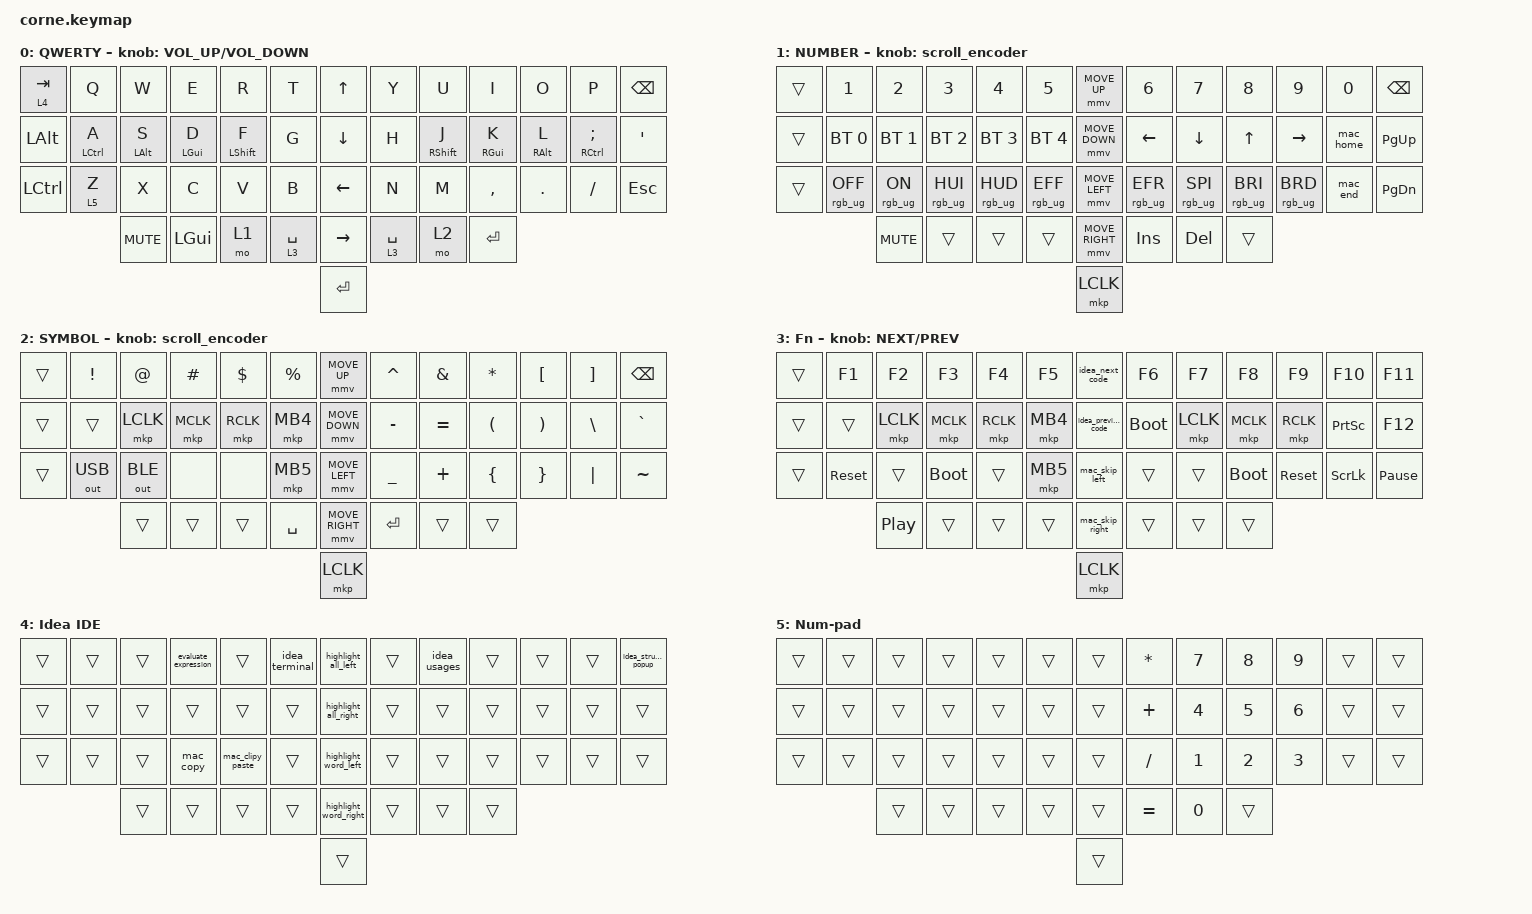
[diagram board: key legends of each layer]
#include <behaviors/mouse_keys.dtsi>
#include <dt-bindings/zmk/mouse.h>
#include <behaviors.dtsi>
#include <dt-bindings/zmk/bt.h>
#include <dt-bindings/zmk/keys.h>
#include <dt-bindings/zmk/outputs.h>
#include <dt-bindings/zmk/pointing.h>
#include <dt-bindings/zmk/pointing.h>
#include <dt-bindings/zmk/pointing.h>
#include <dt-bindings/zmk/rgb.h>

#define ZMK_MOUSE_DEFAULT_MOVE_VAL 1200  // 600
#define ZMK_MOUSE_DEFAULT_SCRL_VAL 20    // 10
#define U_MS_U &mmv MOVE_UP
#define U_MS_D &mmv MOVE_DOWN
#define U_MS_L &mmv MOVE_LEFT
#define U_MS_R &mmv MOVE_RIGHT

/ {
    behaviors {
        td0: td0 {
            compatible = "zmk,behavior-tap-dance";
            label = "TD0";
            #binding-cells = <0>;
            bindings = <&kp LEFT_SHIFT>, <&kp CAPS>;
        };

        hrm_left: hrm_left {
            compatible = "zmk,behavior-hold-tap";
            label = "HRM_LEFT";
            bindings = <&kp>, <&kp>;

            #binding-cells = <2>;
            tapping-term-ms = <200>;
            quick-tap-ms = <175>;
            hold-trigger-on-release;
            hold-trigger-key-positions = <7 8 9 10 11 12 20 21 22 23 24 25 33 34 35 36 37 38 45 46 44>;
            flavor = "balanced";
        };

        hrm_right: hrm_right {
            compatible = "zmk,behavior-hold-tap";
            label = "HRM_RIGHT";
            bindings = <&kp>, <&kp>;

            #binding-cells = <2>;
            tapping-term-ms = <200>;
            quick-tap-ms = <175>;
            hold-trigger-on-release;
            hold-trigger-key-positions = <0 1 2 3 4 5 13 14 15 16 17 18 26 27 28 29 30 31 40 41 42>;
            flavor = "balanced";
        };

        mmv {
            acceleration-exponent = <1>;      // 1
            time-to-max-speed-ms = <900>;    // 40
            delay-ms = <0>;                   // 0
        };

        msc {
            acceleration-exponent = <1>;      // 0
            time-to-max-speed-ms = <400>;      // 500
            delay-ms = <0>;                   // 10
        };
    };

    rgb_encoder: rgb_encoder {
        compatible = "zmk,behavior-sensor-rotate";
        label = "RGB_ENCODER";
        #sensor-binding-cells = <0>;
        bindings = <&rgb_ug RGB_BRI>, <&rgb_ug RGB_BRD>;
    };

    scroll_encoder: scroll_encoder {
        compatible = "zmk,behavior-sensor-rotate";
        #sensor-binding-cells = <0>;
        bindings = <&msc SCRL_DOWN>, <&msc SCRL_UP>;

        tap-ms = <30>;
    };

    macros {
        lock_mac: lock_mac {
            compatible = "zmk,behavior-macro";
            #binding-cells = <0>;
            bindings =
                <&macro_press>,
                <&kp LCTRL &kp LEFT_GUI &kp Q>,
                <&macro_pause_for_release>,
                <&macro_release>,
                <&kp LCTRL &kp LEFT_GUI &kp Q>;

            label = "LOCK_MAC";
        };

        screen_shot: screen_shot {
            compatible = "zmk,behavior-macro";
            #binding-cells = <0>;
            bindings =
                <&macro_press>,
                <&kp LEFT_CONTROL &kp LEFT_SHIFT &kp LEFT_GUI &kp NUMBER_4>,
                <&macro_pause_for_release>,
                <&macro_release>,
                <&kp LCTRL &kp LSHIFT &kp LEFT_GUI &kp NUMBER_4>;

            label = "SCREEN_SHOT";
        };

        launch_pad: launch_pad {
            compatible = "zmk,behavior-macro";
            #binding-cells = <0>;
            bindings =
                <&macro_press>,
                <&kp LEFT_GUI &kp SPACE>,
                <&macro_pause_for_release>,
                <&macro_release>,
                <&kp LEFT_GUI &kp SPACE>;

            label = "LAUNCH_PAD";
        };

        one_pass_vault: one_pass_vault {
            compatible = "zmk,behavior-macro";
            #binding-cells = <0>;
            bindings =
                <&macro_press>,
                <&kp LEFT_GUI &kp LEFT_SHIFT &kp SPACE>,
                <&macro_pause_for_release>,
                <&macro_release>,
                <&kp LEFT_GUI &kp LEFT_SHIFT &kp SPACE>;

            label = "ONE_PASS_VAULT";
        };

        mac_home: mac_home {
            compatible = "zmk,behavior-macro";
            #binding-cells = <0>;
            bindings =
                <&macro_press>,
                <&kp LEFT_GUI &kp LEFT>,
                <&macro_pause_for_release>,
                <&macro_release>,
                <&kp LEFT_GUI &kp LEFT>;

            label = "MAC_HOME";
        };

        mac_end: mac_end {
            compatible = "zmk,behavior-macro";
            #binding-cells = <0>;
            bindings =
                <&macro_press>,
                <&kp LEFT_GUI &kp RIGHT>,
                <&macro_pause_for_release>,
                <&macro_release>,
                <&kp LEFT_GUI &kp RIGHT>;

            label = "MAC_END";
        };

        mac_skip_left: mac_skip_left {
            compatible = "zmk,behavior-macro";
            #binding-cells = <0>;
            bindings =
                <&macro_press>,
                <&kp LEFT_ALT &kp LEFT>,
                <&macro_pause_for_release>,
                <&macro_release>,
                <&kp LEFT_ALT &kp LEFT>;

            label = "MAC_SKIP_LEFT";
        };

        mac_skip_right: mac_skip_right {
            compatible = "zmk,behavior-macro";
            #binding-cells = <0>;
            bindings =
                <&macro_press>,
                <&kp LEFT_ALT &kp RIGHT>,
                <&macro_pause_for_release>,
                <&macro_release>,
                <&kp LEFT_ALT &kp RIGHT>;

            label = "MAC_SKIP_RIGHT";
        };

        idea_next_code: idea_next_code {
            compatible = "zmk,behavior-macro";
            #binding-cells = <0>;
            bindings =
                <&macro_press>,
                <&kp LEFT_GUI &kp RIGHT_BRACKET>,
                <&macro_pause_for_release>,
                <&macro_release>,
                <&kp LEFT_GUI &kp RIGHT_BRACKET>;

            label = "IDEA_NEXT_CODE";
        };

        idea_previous_code: idea_previous_code {
            compatible = "zmk,behavior-macro";
            #binding-cells = <0>;
            bindings =
                <&macro_press>,
                <&kp LEFT_GUI &kp LEFT_BRACKET>,
                <&macro_pause_for_release>,
                <&macro_release>,
                <&kp LEFT_GUI &kp LEFT_BRACKET>;

            label = "IDEA_PREVIOUS_CODE";
        };

        mac_copy: mac_copy {
            compatible = "zmk,behavior-macro";
            #binding-cells = <0>;
            bindings =
                <&macro_press>,
                <&kp LEFT_GUI &kp C>,
                <&macro_pause_for_release>,
                <&macro_release>,
                <&kp LEFT_GUI &kp C>;

            label = "MAC_COPY";
        };

        mac_clipy_paste: mac_clipy_paste {
            compatible = "zmk,behavior-macro";
            #binding-cells = <0>;
            bindings =
                <&macro_press>,
                <&kp LEFT_GUI &kp LS(V)>,
                <&macro_pause_for_release>,
                <&macro_release>,
                <&kp LEFT_GUI &kp LS(V)>;

            label = "MAC_CLIPY_PASTE";
        };

        idea_usages: idea_usages {
            compatible = "zmk,behavior-macro";
            #binding-cells = <0>;
            bindings =
                <&macro_press>,
                <&kp LEFT_ALT &kp F7>,
                <&macro_pause_for_release>,
                <&macro_release>,
                <&kp LEFT_ALT &kp F7>;

            label = "IDEA_USAGES";
        };

        idea_terminal: idea_terminal {
            compatible = "zmk,behavior-macro";
            #binding-cells = <0>;
            bindings =
                <&macro_press>,
                <&kp LEFT_ALT &kp F12>,
                <&macro_pause_for_release>,
                <&macro_release>,
                <&kp LEFT_ALT &kp F12>;

            label = "IDEA_TERMINAL";
        };

        idea_structure_popup: idea_structure_popup {
            compatible = "zmk,behavior-macro";
            #binding-cells = <0>;
            bindings =
                <&macro_press>,
                <&kp LEFT_GUI &kp F12>,
                <&macro_pause_for_release>,
                <&macro_release>,
                <&kp LEFT_GUI &kp F12>;

            label = "IDEA_STRUCTURE_POPUP";
        };

        highlight_all_left: highlight_all_left {
            compatible = "zmk,behavior-macro";
            #binding-cells = <0>;
            bindings =
                <&macro_press>,
                <&kp LEFT_GUI &kp LEFT_SHIFT &kp LEFT_ARROW>,
                <&macro_pause_for_release>,
                <&macro_release>,
                <&kp LEFT_GUI &kp LEFT_SHIFT &kp LEFT>;

            label = "HIGHLIGHT_ALL_LEFT";
        };

        highlight_word_right: highlight_all_right {
            compatible = "zmk,behavior-macro";
            #binding-cells = <0>;
            bindings =
                <&macro_press>,
                <&kp LEFT_ALT &kp LEFT_SHIFT &kp RIGHT>,
                <&macro_pause_for_release>,
                <&macro_release>,
                <&kp LEFT_ALT &kp LEFT_SHIFT &kp RIGHT>;

            label = "HIGHLIGHT_ALL_RIGHT";
        };

        highlight_all_right: highlight_word_right {
            compatible = "zmk,behavior-macro";
            #binding-cells = <0>;
            bindings =
                <&macro_press>,
                <&kp LEFT_GUI &kp LEFT_SHIFT &kp RIGHT>,
                <&macro_pause_for_release>,
                <&macro_release>,
                <&kp LEFT_GUI &kp LEFT_SHIFT &kp RIGHT>;

            label = "HIGHLIGHT_WORD_RIGHT";
        };

        highlight_word_left: highlight_word_left {
            compatible = "zmk,behavior-macro";
            #binding-cells = <0>;
            bindings =
                <&macro_press>,
                <&kp LEFT_ALT &kp LEFT_SHIFT &kp LEFT>,
                <&macro_pause_for_release>,
                <&macro_release>,
                <&kp LEFT_ALT &kp LEFT_SHIFT &kp LEFT>;

            label = "HIGHLIGHT_WORD_LEFT";
        };

        evaluate_expression: Evaluate_expression {
            compatible = "zmk,behavior-macro";
            #binding-cells = <0>;
            bindings =
                <&macro_press>,
                <&kp LEFT_ALT &kp F8>,
                <&macro_pause_for_release>,
                <&macro_release>,
                <&kp LEFT_ALT &kp F8>;

            label = "EVALUATE_EXPRESSION";
        };

        screen_recording: screen_recording {
            compatible = "zmk,behavior-macro";
            #binding-cells = <0>;
            bindings =
                <&macro_press>,
                <&kp LEFT_GUI &kp LEFT_SHIFT &kp N5>,
                <&macro_pause_for_release>,
                <&macro_release>,
                <&kp LEFT_GUI &kp LEFT_SHIFT &kp N5>;

            label = "SCREEN_RECORDING";
        };
    };

    combos {
        compatible = "zmk,combos";

        launchpad {
            bindings = <&launch_pad>;
            key-positions = <40 46>;
            timeout-ms = <500>;
            layers = <0>;
        };

        one_pass_vault {
            bindings = <&one_pass_vault>;
            key-positions = <41 45>;
            layers = <0>;
            timeout-ms = <500>;
        };

        screen_shot {
            bindings = <&screen_shot>;
            key-positions = <26 38>;
            timeout-ms = <500>;
            layers = <0>;
        };

        lock_mac {
            bindings = <&lock_mac>;
            key-positions = <0 1 2>;
            timeout-ms = <500>;
            layers = <0>;
        };

        screen_recording_mac {
            bindings = <&screen_recording>;
            key-positions = <10 11 9>;
            layers = <0>;
            timeout-ms = <500>;
        };

        Clear_bt {
            bindings = <&bt BT_CLR_ALL>;
            key-positions = <17 16 15 14 21 22 23 24>;
            layers = <1>;
            timeout-ms = <500>;
            require-prior-idle-ms = <500>;
        };

        caps_local {
            bindings = <&caps_word>;
            key-positions = <17 21>;
            layers = <0>;
            timeout-ms = <500>;
            require-prior-idle-ms = <500>;
        };
    };

    keymap {
        compatible = "zmk,keymap";

        default_layer {
            display-name = "QWERTY";

            // --------------------------------------------------------------------------------
            // |  TAB |  Q  |  W  |  E  |  R  |  T  |                ↑    |  Y  |  U   |  I  |  O  |  P  | BKSP |      &kp UP_ARROW 
            // | SHIFT |  A  |  S  |  D  |  F  |  G  |               ↓    |  H  |  J   |  K  |  L  |  ;  |  '   | 
            // | CTRL |  Z  |  X  |  C  |  V  |  B  |                ←    |  N  |  M   |  ,  |  .  |  /  | ESC  |
            //                    | GUI | LWR | SPC |                →    | ENT | RSE  | ALT |
            //                                                      enter

            bindings = <
&lt 4 TAB     &kp Q              &kp W                 &kp E                 &kp R                   &kp T          &kp UP_ARROW     &kp Y        &kp U                     &kp I                   &kp O                   &kp P                  &kp BSPC
&kp LEFT_ALT  &hrm_left LCTRL A  &hrm_left LEFT_ALT S  &hrm_left LEFT_GUI D  &hrm_left LEFT_SHIFT F  &kp G          &kp DOWN_ARROW   &kp H        &hrm_right RIGHT_SHIFT J  &hrm_right RIGHT_GUI K  &hrm_right RIGHT_ALT L  &hrm_right RCTRL SEMI  &kp SQT
&kp LCTRL     &lt 5 Z            &kp X                 &kp C                 &kp V                   &kp B          &kp LEFT_ARROW   &kp N        &kp M                     &kp COMMA               &kp DOT                 &kp FSLH               &kp ESC
                                 &kp C_MUTE            &kp LGUI              &mo 1                   &lt 3 SPACE    &kp RIGHT_ARROW  &lt 3 SPACE  &mo 2                     &kp ENTER
                                                                                                                    &kp ENTER
            >;

            label = "QWERTY";
            sensor-bindings = <&inc_dec_kp C_VOLUME_UP C_VOLUME_DOWN>;
        };

        lower_layer {
            display-name = "NUMBER";

            // -----------------------------------------------------------------------------------------
            // |  TAB |  1  |  2  |  3  |  4  |  5  |   |  6  |  7  |  8  |  9  |  0  | BKSP |
            // | BTCLR| BT1 | BT2 | BT3 | BT4 | BT5 |   | LFT | DWN |  UP | RGT |     |      |
            // | SHFT |     |     |     |     |     |   |     |     |     |     |     |      |
            //                    | GUI |     | SPC |   | ENT |     | ALT |

            bindings = <
&trans  &kp N1           &kp N2          &kp N3           &kp N4           &kp N5             &mmv MOVE_UP     &kp N6           &kp N7           &kp N8           &kp N9           &kp N0     &kp BSPC
&trans  &bt BT_SEL 0     &bt BT_SEL 1    &bt BT_SEL 2     &bt BT_SEL 3     &bt BT_SEL 4       &mmv MOVE_DOWN   &kp LEFT         &kp DOWN         &kp UP           &kp RIGHT        &mac_home  &kp PG_UP
&trans  &rgb_ug RGB_OFF  &rgb_ug RGB_ON  &rgb_ug RGB_HUI  &rgb_ug RGB_HUD  &rgb_ug RGB_EFF    &mmv MOVE_LEFT   &rgb_ug RGB_EFR  &rgb_ug RGB_SPI  &rgb_ug RGB_BRI  &rgb_ug RGB_BRD  &mac_end   &kp PG_DN
                         &kp C_MUTE      &trans           &trans           &trans             &mmv MOVE_RIGHT  &kp INS          &kp DEL          &trans
                                                                                              &mkp LCLK
            >;

            label = "NUMBER";
            sensor-bindings = <&scroll_encoder>;
        };

        raise_layer {
            display-name = "SYMBOL";

            // -----------------------------------------------------------------------------------------
            // |  TAB |  !  |  @  |  #  |  $  |  %  |   |  ^  |  &  |  *  |  (  |  )  | BKSP |
            // | CTRL |     |     |     |     |     |   |  -  |  =  |  [  |  ]  |  \  |  `   |
            // | SHFT |     |     |     |     |     |   |  _  |  +  |  {  |  }  | "|" |  ~   |
            //                    | GUI |     | SPC |   | ENT |     | ALT |

            bindings = <
&trans  &kp EXCL      &kp AT        &kp HASH   &kp DLLR   &kp PRCNT    &mmv MOVE_UP     &kp CARET  &kp AMPS   &kp ASTRK             &kp LEFT_BRACKET       &kp RIGHT_BRACKET  &kp BSPC
&trans  &trans        &mkp LCLK     &mkp MCLK  &mkp RCLK  &mkp MB4     &mmv MOVE_DOWN   &kp MINUS  &kp EQUAL  &kp LEFT_PARENTHESIS  &kp RIGHT_PARENTHESIS  &kp BSLH           &kp GRAVE
&trans  &out OUT_USB  &out OUT_BLE  &none      &none      &mkp MB5     &mmv MOVE_LEFT   &kp UNDER  &kp PLUS   &kp LBRC              &kp RBRC               &kp PIPE           &kp TILDE
                      &trans        &trans     &trans     &kp SPACE    &mmv MOVE_RIGHT  &kp RET    &trans     &trans
                                                                       &mkp LCLK
            >;

            label = "SYMBOL";
            sensor-bindings = <&scroll_encoder>;
        };

        layer_3 {
            display-name = "Fn";
            bindings = <
&trans  &kp F1      &kp F2            &kp F3       &kp F4     &kp F5      &idea_next_code      &kp F6       &kp F7     &kp F8       &kp F9      &kp F10          &kp F11
&trans  &trans      &mkp LCLK         &mkp MCLK    &mkp RCLK  &mkp MB4    &idea_previous_code  &bootloader  &mkp LCLK  &mkp MCLK    &mkp RCLK   &kp PRINTSCREEN  &kp F12
&trans  &sys_reset  &trans            &bootloader  &trans     &mkp MB5    &mac_skip_left       &trans       &trans     &bootloader  &sys_reset  &kp SCROLLLOCK   &kp PAUSE_BREAK
                    &kp C_PLAY_PAUSE  &trans       &trans     &trans      &mac_skip_right      &trans       &trans     &trans
                                                                          &mkp LCLK
            >;

            label = "FN";
            sensor-bindings = <&inc_dec_kp C_NEXT C_PREV>;
        };

        layer_4 {
            bindings = <
&trans  &trans  &trans  &evaluate_expression  &trans            &idea_terminal    &highlight_all_left    &trans  &idea_usages  &trans  &trans  &trans  &idea_structure_popup
&trans  &trans  &trans  &trans                &trans            &trans            &highlight_all_right   &trans  &trans        &trans  &trans  &trans  &trans
&trans  &trans  &trans  &mac_copy             &mac_clipy_paste  &trans            &highlight_word_left   &trans  &trans        &trans  &trans  &trans  &trans
                &trans  &trans                &trans            &trans            &highlight_word_right  &trans  &trans        &trans
                                                                                  &trans
            >;

            label = "Idea IDE";
        };

        layer_5 {
            bindings = <
&trans  &trans  &trans  &trans  &trans  &trans    &trans  &kp STAR   &kp N7  &kp N8  &kp N9  &trans  &trans
&trans  &trans  &trans  &trans  &trans  &trans    &trans  &kp PLUS   &kp N4  &kp N5  &kp N6  &trans  &trans
&trans  &trans  &trans  &trans  &trans  &trans    &trans  &kp SLASH  &kp N1  &kp N2  &kp N3  &trans  &trans
                &trans  &trans  &trans  &trans    &trans  &kp EQUAL  &kp N0  &trans
                                                  &trans
            >;

            label = "Num-pad";
        };
    };
};
